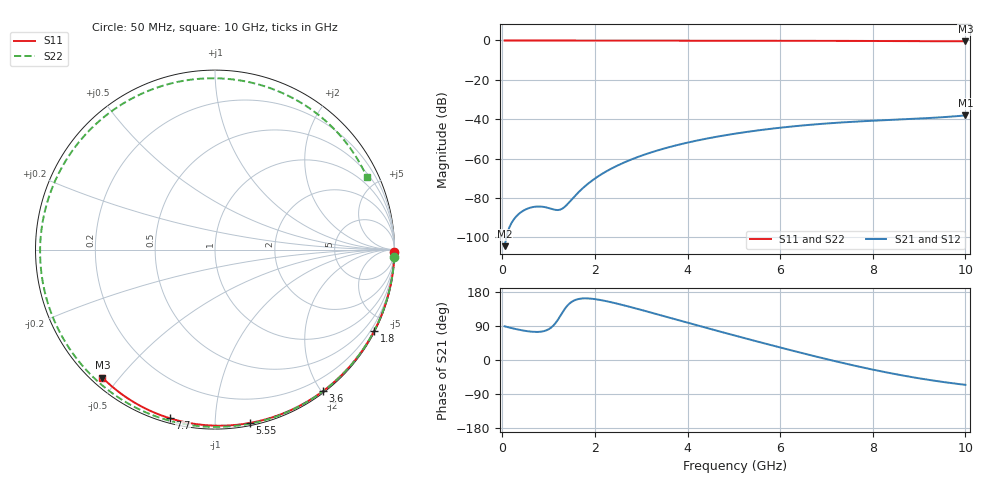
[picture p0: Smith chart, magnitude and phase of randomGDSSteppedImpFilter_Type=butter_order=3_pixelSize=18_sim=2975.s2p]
! freq	dB(S11)	phase(S11)	dB(S12)	phase(S12)
!  dB(S21)	phase(S21)	dB(S22)	phase(S22)
!S-par simulation data
#  GHz  S  DB  R 50
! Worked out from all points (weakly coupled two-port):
!   200 points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, 50 MHz to 10 GHz, reference 50 ohm
!   highest |S21| = -38.08 dB at 10 GHz (marker M1); lowest = -104.5 dB at 50 MHz (marker M2)
!   lowest |S11| = -0.4 dB at 10 GHz (marker M3), VSWR 38.80, Z = 1.55 - j22.6 ohm
!   |S11| at or under -10 dB: nowhere
!   |S22| runs from -0.6 to 0.0 dB; largest |S21 - S12| = 0
!   S11 on the Smith chart (normalised r, x): 50 MHz: open; 1.8 GHz: 0.04, -4.18; 3.6 GHz: 0.02, -2.02; 5.55 GHz: 0.02, -1.22; 7.7 GHz: 0.02, -0.77; 10 GHz: 0.03, -0.45
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0.05  -0.00 -0.8  -104.53 88.9  -104.53 88.9  -0.00 -2.2
0.35  -0.01 -5.3  -88.28 80.1  -88.28 80.1  -0.02 -15.5
0.7  -0.01 -10.6  -84.51 74.2  -84.51 74.2  -0.04 -30.6
1.1  -0.02 -16.6  -85.82 90.5  -85.82 90.5  -0.06 -47.5
1.5  -0.03 -22.5  -80.79 153.6  -80.79 153.6  -0.08 -63.7
1.75  -0.03 -26.2  -74.81 162.5  -74.81 162.5  -0.09 -73.4
1.8  -0.03 -26.9  -73.79 162.7  -73.79 162.7  -0.09 -75.4
2.1  -0.04 -31.3  -68.59 158.7  -68.59 158.7  -0.10 -86.6
2.45  -0.05 -36.4  -63.99 149.6  -63.99 149.6  -0.11 -99.1
2.9  -0.06 -42.8  -59.45 135.5  -59.45 135.5  -0.13 -114.4
3.4  -0.07 -49.8  -55.55 118.8  -55.55 118.8  -0.15 -130.5
3.6  -0.07 -52.6  -54.23 112.1  -54.23 112.1  -0.16 -136.7
4.3  -0.09 -62.2  -50.40 88.4  -50.40 88.4  -0.19 -157.7
5.05  -0.11 -72.1  -47.28 63.6  -47.28 63.6  -0.22 -179.4
5.55  -0.13 -78.6  -45.61 47.4  -45.61 47.4  -0.25 166.4
6.1  -0.15 -85.6  -44.09 29.9  -44.09 29.9  -0.28 150.6
6.7  -0.18 -93.0  -42.75 11.4  -42.75 11.4  -0.32 133.0
7.2  -0.21 -99.0  -41.86 -3.5  -41.86 -3.5  -0.35 117.9
7.7  -0.24 -105.0  -41.15 -17.5  -41.15 -17.5  -0.38 102.3
8.35  -0.29 -112.6  -40.40 -34.0  -40.40 -34.0  -0.42 81.3
9.1  -0.35 -121.2  -39.56 -50.3  -39.56 -50.3  -0.47 56.2
10  -0.45 -131.3  -38.08 -65.5  -38.08 -65.5  -0.56 25.5
